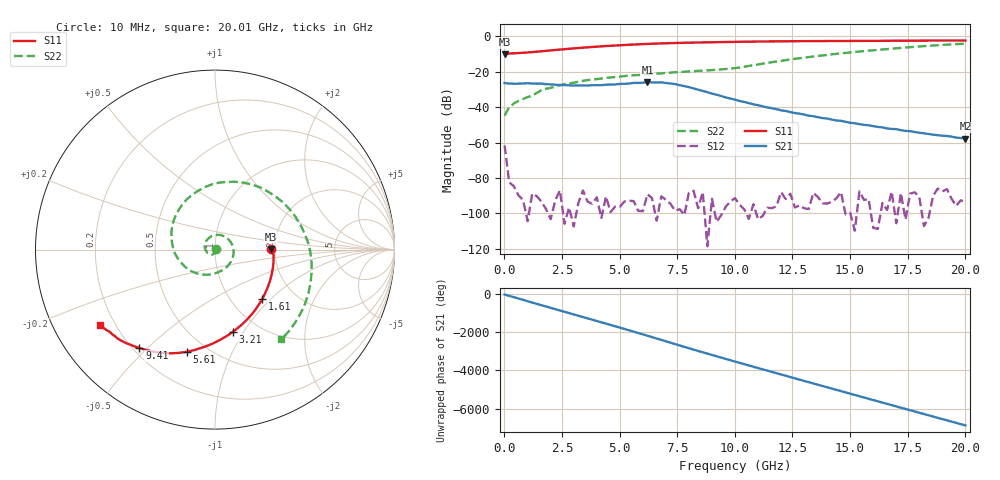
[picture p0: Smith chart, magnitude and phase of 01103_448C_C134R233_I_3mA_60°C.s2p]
!;Filter: kein Filter
!auto
!3/21/2019 9:27:07 AM
!3/21/2019 9:27:22 AM
!SP-Measurements Prober G4
!SP-Measurements Prober G4
!01103_448C
!134
!233
!12
!60
!-20
!0.00299959
!1.83
!0.38139174
!0.38139174
# Hz S  RI  R 50
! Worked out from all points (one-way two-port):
!   101 points, 10 MHz to 20.01 GHz, reference 50 ohm
!   highest |S21| = -25.85 dB at 6.21 GHz (marker M1); lowest = -57.8 dB at 20.01 GHz (marker M2)
!   lowest |S11| = -10.1 dB at 10 MHz (marker M3), VSWR 1.91, Z = 95.6 + j0.637 ohm
!   |S11| at or under -10 dB: start of sweep to 54.3 MHz
!   |S22| runs from -44.7 to -4.1 dB; largest |S21 - S12| = 0.051
!   S11 on the Smith chart (normalised r, x): 10 MHz: 1.91, +0.01; 1.61 GHz: 1.39, -0.89; 3.21 GHz: 0.76, -0.90; 5.61 GHz: 0.39, -0.69; 9.41 GHz: 0.23, -0.47; 20.01 GHz: 0.14, -0.29
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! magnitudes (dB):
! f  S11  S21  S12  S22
! 10 MHz  -10.1  -26.4  -61.7  -44.7
! 210 MHz  -9.7  -26.7  -82.5  -40.0
! 410 MHz  -9.5  -26.7  -84.7  -37.9
! 610 MHz  -9.4  -26.7  -89.8  -36.5
! 1.21 GHz  -8.9  -26.7  -88.8  -33.5
! 1.61 GHz  -8.4  -26.7  -93.4  -30.4
! 2.61 GHz  -7.2  -27.5  -105.9  -26.9
! 3.21 GHz  -6.6  -27.7  -94.2  -25.6
! 3.41 GHz  -6.4  -27.7  -87.1  -25.1
! 4.81 GHz  -5.1  -27.2  -96.2  -23.0
! 5.61 GHz  -4.6  -26.3  -93.1  -21.9
! 6.21 GHz  -4.3  -25.8  -89.2  -21.4
! 6.81 GHz  -4.0  -26.0  -90.4  -20.9
! 7.41 GHz  -3.7  -26.9  -98.6  -20.3
! 8.01 GHz  -3.6  -28.7  -88.4  -19.8
! 9.41 GHz  -3.2  -33.7  -101.0  -18.7
! 10.01 GHz  -3.1  -35.8  -91.4  -17.9
! 11.41 GHz  -2.8  -40.2  -96.8  -15.0
! 13.41 GHz  -2.7  -45.1  -88.5  -11.3
! 15.01 GHz  -2.6  -48.8  -99.7  -9.1
! 16.81 GHz  -2.5  -52.3  -87.8  -7.0
! 20.01 GHz  -2.3  -57.8  -93.8  -4.1
